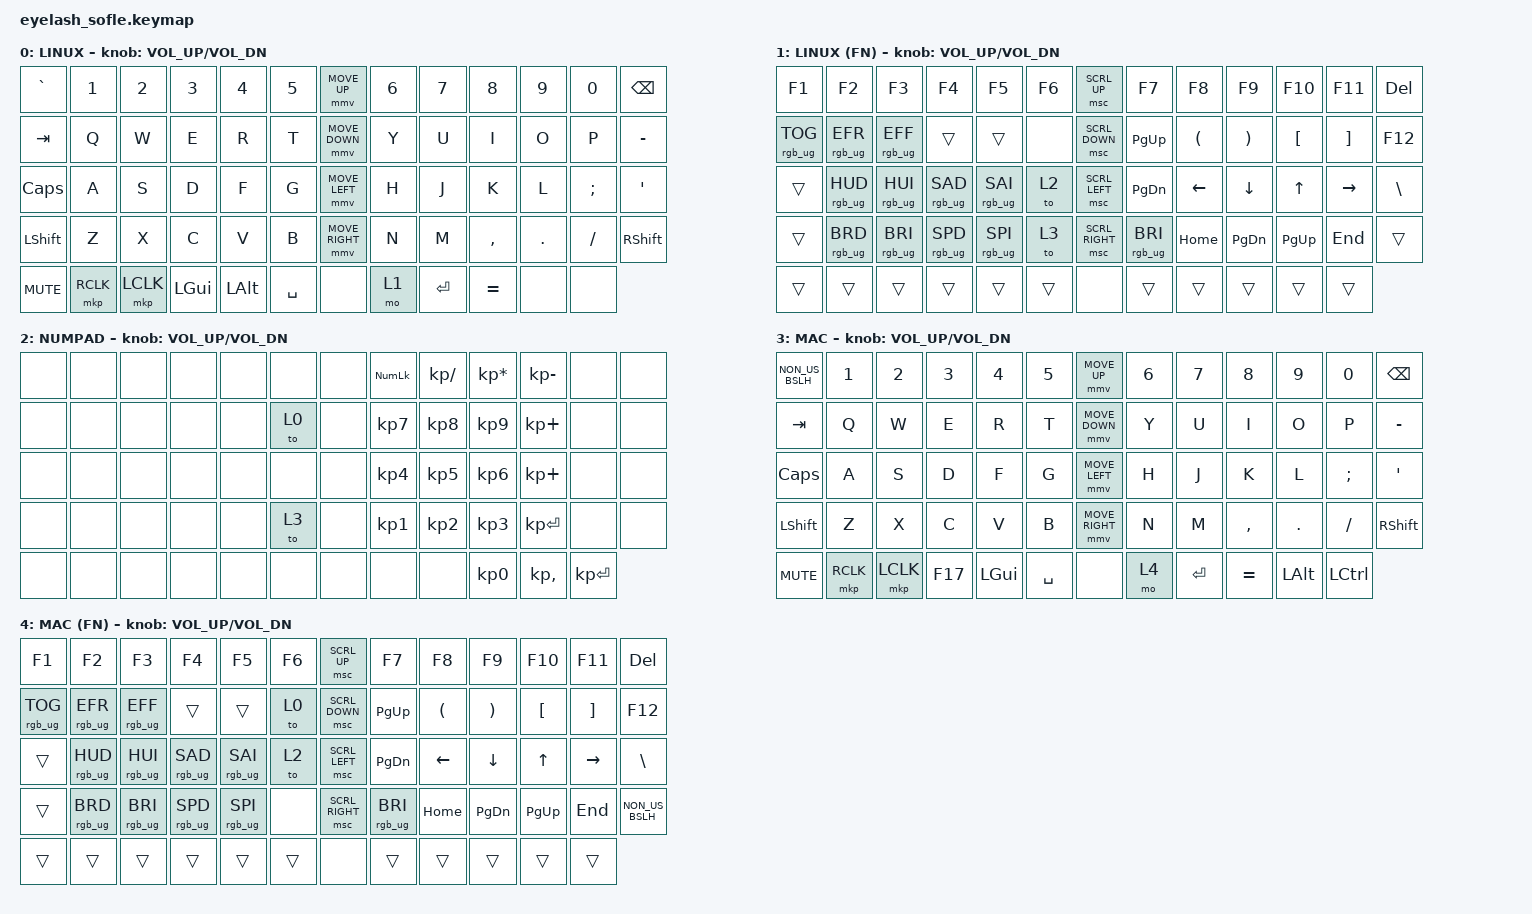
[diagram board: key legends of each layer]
#define ZMK_POINTING_DEFAULT_MOVE_VAL 300  // 600
#define ZMK_POINTING_DEFAULT_SCRL_VAL 10  // 10

#include <input/processors.dtsi>
#include <zephyr/dt-bindings/input/input-event-codes.h>
#include <behaviors.dtsi>
#include <dt-bindings/zmk/keys.h>
#include <dt-bindings/zmk/pointing.h>
#include <dt-bindings/zmk/rgb.h>

&mmv_input_listener { input-processors = <&zip_xy_scaler 2 1>; };

&msc_input_listener { input-processors = <&zip_scroll_scaler 2 1>; };

&msc {
    acceleration-exponent = <0>;      // 0
    time-to-max-speed-ms = <100>;       // 300
    delay-ms = <0>;                   // 0
};

&mmv {
    time-to-max-speed-ms = <500>;
    acceleration-exponent = <0>;
    trigger-period-ms = <16>;
};

&soft_off { hold-time-ms = <2000>; };

/ {
    scroll_encoder: scroll_encoder {
        compatible = "zmk,behavior-sensor-rotate";
        #sensor-binding-cells = <0>;
        bindings = <&msc SCRL_DOWN>, <&msc SCRL_UP>;

        tap-ms = <100>;
    };

    behaviors {
    };

    combos {
        compatible = "zmk,combos";

        softoff {
            bindings = <&soft_off>;
            key-positions = <14 28 40>;
        };

        middle-mouse-click {
            bindings = <&mkp MCLK>;
            key-positions = <53 54>;
        };
    };

    macros {
        SHIFT_MCLK: SHIFT_MCLK {
            compatible = "zmk,behavior-macro";
            #binding-cells = <0>;
            bindings =
                <&macro_press>,
                <&kp LEFT_SHIFT>,
                <&macro_press>,
                <&mkp MB3>,
                <&macro_pause_for_release>,
                <&macro_release>,
                <&kp LEFT_SHIFT &mkp MB3>;

            label = "SHIFT_MCLK";
        };
    };

    keymap {
        compatible = "zmk,keymap";

        linux {
            bindings = <
&kp GRAVE   &kp N1     &kp N2     &kp N3        &kp N4        &kp N5       &mmv MOVE_UP     &kp N6  &kp N7     &kp N8     &kp N9   &kp N0    &kp BACKSPACE
&kp TAB     &kp Q      &kp W      &kp E         &kp R         &kp T        &mmv MOVE_DOWN   &kp Y   &kp U      &kp I      &kp O    &kp P     &kp MINUS
&kp CAPS    &kp A      &kp S      &kp D         &kp F         &kp G        &mmv MOVE_LEFT   &kp H   &kp J      &kp K      &kp L    &kp SEMI  &kp APOS
&kp LSHFT   &kp Z      &kp X      &kp C         &kp V         &kp B        &mmv MOVE_RIGHT  &kp N   &kp M      &kp COMMA  &kp DOT  &kp FSLH  &kp RSHIFT
&kp C_MUTE  &mkp RCLK  &mkp LCLK  &kp LEFT_GUI  &kp LEFT_ALT  &kp SPACE    &none            &mo 1   &kp ENTER  &kp EQUAL  &none    &none
            >;

            sensor-bindings = <&inc_dec_kp C_VOLUME_UP C_VOL_DN>;
            display-name = "LINUX";
        };

        linux_fn {
            bindings = <
&kp F1           &kp F2           &kp F3           &kp F4           &kp F5           &kp F6    &msc SCRL_UP     &kp F7           &kp F8                &kp F9                 &kp F10           &kp F11            &kp DELETE
&rgb_ug RGB_TOG  &rgb_ug RGB_EFR  &rgb_ug RGB_EFF  &trans           &trans           &none     &msc SCRL_DOWN   &kp PG_UP        &kp LEFT_PARENTHESIS  &kp RIGHT_PARENTHESIS  &kp LEFT_BRACKET  &kp RIGHT_BRACKET  &kp F12
&trans           &rgb_ug RGB_HUD  &rgb_ug RGB_HUI  &rgb_ug RGB_SAD  &rgb_ug RGB_SAI  &to 2     &msc SCRL_LEFT   &kp PG_DN        &kp LEFT              &kp DOWN               &kp UP_ARROW      &kp RIGHT          &kp BACKSLASH
&trans           &rgb_ug RGB_BRD  &rgb_ug RGB_BRI  &rgb_ug RGB_SPD  &rgb_ug RGB_SPI  &to 3     &msc SCRL_RIGHT  &rgb_ug RGB_BRI  &kp HOME              &kp PAGE_DOWN          &kp PG_UP         &kp END            &trans
&trans           &trans           &trans           &trans           &trans           &trans    &none            &trans           &trans                &trans                 &trans            &trans
            >;

            sensor-bindings = <&inc_dec_kp C_VOLUME_UP C_VOL_DN>;
            display-name = "LINUX (FN)";
        };

        numpad {
            bindings = <
&none  &none  &none  &none  &none  &none    &none  &kp KP_NUMLOCK   &kp KP_DIVIDE    &kp KP_MULTIPLY  &kp KP_SUBTRACT  &none         &none
&none  &none  &none  &none  &none  &to 0    &none  &kp KP_NUMBER_7  &kp KP_NUMBER_8  &kp KP_NUMBER_9  &kp KP_PLUS      &none         &none
&none  &none  &none  &none  &none  &none    &none  &kp KP_NUMBER_4  &kp KP_NUMBER_5  &kp KP_NUMBER_6  &kp KP_PLUS      &none         &none
&none  &none  &none  &none  &none  &to 3    &none  &kp KP_NUMBER_1  &kp KP_NUMBER_2  &kp KP_NUMBER_3  &kp KP_ENTER     &none         &none
&none  &none  &none  &none  &none  &none    &none  &none            &none            &kp KP_NUMBER_0  &kp KP_COMMA     &kp KP_ENTER
            >;

            display-name = "NUMPAD";
            sensor-bindings = <&inc_dec_kp C_VOLUME_UP C_VOL_DN>;
        };

        mac {
            bindings = <
&kp NON_US_BSLH  &kp N1     &kp N2     &kp N3   &kp N4        &kp N5       &mmv MOVE_UP     &kp N6  &kp N7     &kp N8     &kp N9        &kp N0     &kp BACKSPACE
&kp TAB          &kp Q      &kp W      &kp E    &kp R         &kp T        &mmv MOVE_DOWN   &kp Y   &kp U      &kp I      &kp O         &kp P      &kp MINUS
&kp CAPS         &kp A      &kp S      &kp D    &kp F         &kp G        &mmv MOVE_LEFT   &kp H   &kp J      &kp K      &kp L         &kp SEMI   &kp APOS
&kp LSHFT        &kp Z      &kp X      &kp C    &kp V         &kp B        &mmv MOVE_RIGHT  &kp N   &kp M      &kp COMMA  &kp DOT       &kp FSLH   &kp RSHIFT
&kp C_MUTE       &mkp RCLK  &mkp LCLK  &kp F17  &kp LEFT_GUI  &kp SPACE    &none            &mo 4   &kp ENTER  &kp EQUAL  &kp LEFT_ALT  &kp LCTRL
            >;

            sensor-bindings = <&inc_dec_kp C_VOLUME_UP C_VOL_DN>;
            display-name = "MAC";
        };

        mac_fn {
            bindings = <
&kp F1           &kp F2           &kp F3           &kp F4           &kp F5           &kp F6    &msc SCRL_UP     &kp F7           &kp F8                &kp F9                 &kp F10           &kp F11            &kp DELETE
&rgb_ug RGB_TOG  &rgb_ug RGB_EFR  &rgb_ug RGB_EFF  &trans           &trans           &to 0     &msc SCRL_DOWN   &kp PG_UP        &kp LEFT_PARENTHESIS  &kp RIGHT_PARENTHESIS  &kp LEFT_BRACKET  &kp RIGHT_BRACKET  &kp F12
&trans           &rgb_ug RGB_HUD  &rgb_ug RGB_HUI  &rgb_ug RGB_SAD  &rgb_ug RGB_SAI  &to 2     &msc SCRL_LEFT   &kp PG_DN        &kp LEFT              &kp DOWN               &kp UP_ARROW      &kp RIGHT          &kp BACKSLASH
&trans           &rgb_ug RGB_BRD  &rgb_ug RGB_BRI  &rgb_ug RGB_SPD  &rgb_ug RGB_SPI  &none     &msc SCRL_RIGHT  &rgb_ug RGB_BRI  &kp HOME              &kp PAGE_DOWN          &kp PG_UP         &kp END            &kp NON_US_BSLH
&trans           &trans           &trans           &trans           &trans           &trans    &none            &trans           &trans                &trans                 &trans            &trans
            >;

            sensor-bindings = <&inc_dec_kp C_VOLUME_UP C_VOL_DN>;
            display-name = "MAC (FN)";
        };
    };
};
